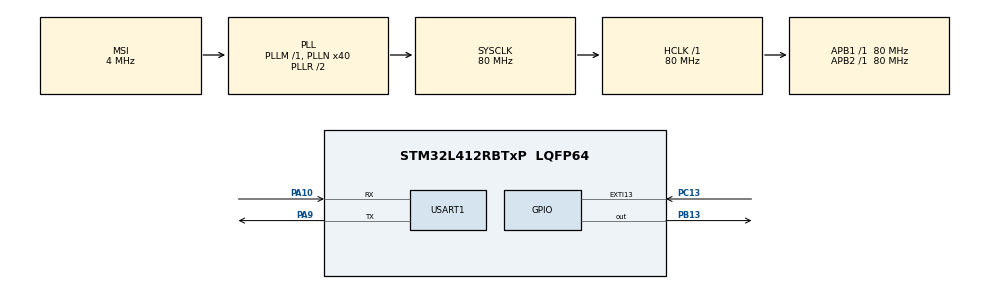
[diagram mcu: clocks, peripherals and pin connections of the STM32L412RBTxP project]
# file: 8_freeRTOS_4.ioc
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FREERTOS.Tasks01=defaultTask,0,128,StartDefaultTask,Default,NULL,Dynamic,NULL,NULL
FREERTOS.Timers01=myTimer01,Callback01,osTimerPeriodic,Default,NULL,Dynamic,NULL
FREERTOS.configTIMER_TASK_PRIORITY=6
FREERTOS.configTOTAL_HEAP_SIZE=6000
FREERTOS.configUSE_TIMERS=1
Mcu.Family=STM32L4
Mcu.Name=STM32L412RBTxP
Mcu.Package=LQFP64
NVIC.EXTI15_10_IRQn=true\:5\:0\:false\:false\:true\:false\:true\:true
NVIC.PriorityGroup=NVIC_PRIORITYGROUP_4
NVIC.TIM6_IRQn=true\:0\:0\:false\:false\:true\:false\:false\:true
NVIC.TimeBase=TIM6_IRQn
NVIC.TimeBaseIP=TIM6
NVIC.USART1_IRQn=true\:5\:0\:false\:false\:true\:true\:true\:true
PA10.Mode=Asynchronous
PA10.Signal=USART1_RX
PA9.Mode=Asynchronous
PA9.Signal=USART1_TX
PB13.Signal=GPIO_Output
PC13.GPIO_ModeDefaultEXTI=GPIO_MODE_IT_RISING_FALLING
PC13.Signal=GPXTI13
ProjectManager.HeapSize=0x200
ProjectManager.StackSize=0x400
ProjectManager.TargetToolchain=STM32CubeIDE
RCC.ADCFreq_Value=80000000
RCC.AHBFreq_Value=80000000
RCC.APB1Freq_Value=80000000
RCC.APB1TimFreq_Value=80000000
RCC.APB2Freq_Value=80000000
RCC.APB2TimFreq_Value=80000000
RCC.CortexFreq_Value=80000000
RCC.HCLKFreq_Value=80000000
RCC.HSE_VALUE=8000000
RCC.HSI48_VALUE=48000000
RCC.HSI_VALUE=16000000
RCC.LSE_VALUE=32768
RCC.MSI_VALUE=4000000
RCC.PLLN=40
RCC.SYSCLKFreq_VALUE=80000000
RCC.SYSCLKSource=RCC_SYSCLKSOURCE_PLLCLK
RCC.USBFreq_Value=4000000
RCC.VCOOutputFreq_Value=160000000
USART1.VirtualMode-Asynchronous=VM_ASYNC
VP_FREERTOS_VS_CMSIS_V1.Mode=CMSIS_V1
VP_SYS_VS_tim6.Mode=TIM6
board=custom

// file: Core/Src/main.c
/* USER CODE BEGIN Header */
/**
  ******************************************************************************
  * @file           : main.c
  * @brief          : Main program body
  ******************************************************************************
  * @attention
  *
  * <h2><center>&copy; Copyright (c) 2021 STMicroelectronics.
  * All rights reserved.</center></h2>
  *
  * This software component is licensed by ST under BSD 3-Clause license,
  * the "License"; You may not use this file except in compliance with the
  * License. You may obtain a copy of the License at:
  *                        opensource.org/licenses/BSD-3-Clause
  *
  ******************************************************************************
  */
/* USER CODE END Header */
#include "main.h"
#include "cmsis_os.h"
#include "usart.h"
#include "gpio.h"

/* USER CODE BEGIN Includes */
#include <stdio.h>
#include "freertos.h"

/* USER CODE END Includes */

/* USER CODE BEGIN PM */

#ifdef __GNUC__
    #define PUTCHAR_PROTOTYPE int __io_putchar(int ch)
#else
    #define PUTCHAR_PROTOTYPE int fputc(int ch, FILE *f)
#endif

PUTCHAR_PROTOTYPE
{
  HAL_UART_Transmit(&huart1, (uint8_t *)&ch, 1, 0xFFFF);
  return ch;
}
/* USER CODE END PM */

/* USER CODE BEGIN PV */

uint8_t userCommandBuff[10];

/* USER CODE END PV */

void SystemClock_Config(void);
void MX_FREERTOS_Init(void);

int main(void)
{

  /* MCU Configuration--------------------------------------------------------*/

  /* Reset of all peripherals, Initializes the Flash interface and the Systick. */
  HAL_Init();

  /* Configure the system clock */
  SystemClock_Config();

  /* Initialize all configured peripherals */
  MX_GPIO_Init();
  MX_USART1_UART_Init();
  /* USER CODE BEGIN 2 */

  HAL_UART_Receive_IT(&huart1, &userCommandBuff, 1);

  /* USER CODE END 2 */

  /* Call init function for freertos objects (in freertos.c) */
  MX_FREERTOS_Init();
  /* Start scheduler */
  osKernelStart();

  /* We should never get here as control is now taken by the scheduler */
  /* Infinite loop */
  while (1)
  {

  }
}

void SystemClock_Config(void)
{
  RCC_OscInitTypeDef RCC_OscInitStruct = {0};
  RCC_ClkInitTypeDef RCC_ClkInitStruct = {0};
  RCC_PeriphCLKInitTypeDef PeriphClkInit = {0};

  /** Configure the main internal regulator output voltage
  */
  if (HAL_PWREx_ControlVoltageScaling(PWR_REGULATOR_VOLTAGE_SCALE1) != HAL_OK)
  {
    Error_Handler();
  }
  /** Initializes the RCC Oscillators according to the specified parameters
  * in the RCC_OscInitTypeDef structure.
  */
  RCC_OscInitStruct.OscillatorType = RCC_OSCILLATORTYPE_MSI;
  RCC_OscInitStruct.MSIState = RCC_MSI_ON;
  RCC_OscInitStruct.MSICalibrationValue = 0;
  RCC_OscInitStruct.MSIClockRange = RCC_MSIRANGE_6;
  RCC_OscInitStruct.PLL.PLLState = RCC_PLL_ON;
  RCC_OscInitStruct.PLL.PLLSource = RCC_PLLSOURCE_MSI;
  RCC_OscInitStruct.PLL.PLLM = 1;
  RCC_OscInitStruct.PLL.PLLN = 40;
  RCC_OscInitStruct.PLL.PLLQ = RCC_PLLQ_DIV2;
  RCC_OscInitStruct.PLL.PLLR = RCC_PLLR_DIV2;
  if (HAL_RCC_OscConfig(&RCC_OscInitStruct) != HAL_OK)
  {
    Error_Handler();
  }
  /** Initializes the CPU, AHB and APB buses clocks
  */
  RCC_ClkInitStruct.ClockType = RCC_CLOCKTYPE_HCLK|RCC_CLOCKTYPE_SYSCLK
                              |RCC_CLOCKTYPE_PCLK1|RCC_CLOCKTYPE_PCLK2;
  RCC_ClkInitStruct.SYSCLKSource = RCC_SYSCLKSOURCE_PLLCLK;
  RCC_ClkInitStruct.AHBCLKDivider = RCC_SYSCLK_DIV1;
  RCC_ClkInitStruct.APB1CLKDivider = RCC_HCLK_DIV1;
  RCC_ClkInitStruct.APB2CLKDivider = RCC_HCLK_DIV1;

  if (HAL_RCC_ClockConfig(&RCC_ClkInitStruct, FLASH_LATENCY_4) != HAL_OK)
  {
    Error_Handler();
  }
  PeriphClkInit.PeriphClockSelection = RCC_PERIPHCLK_USART1;
  PeriphClkInit.Usart1ClockSelection = RCC_USART1CLKSOURCE_PCLK2;
  if (HAL_RCCEx_PeriphCLKConfig(&PeriphClkInit) != HAL_OK)
  {
    Error_Handler();
  }
}

/* USER CODE BEGIN 4 */
void HAL_GPIO_EXTI_Callback(uint16_t GPIO_Pin)
{
  if (GPIO_Pin == GPIO_PIN_13)
  {
    uint8_t btn_state = HAL_GPIO_ReadPin(GPIOC, GPIO_PIN_13);
    btn_state = btn_state == GPIO_PIN_RESET? 0:1;
    vButton_QueueSendFromISR(&btn_state);
  }
}

/* USER CODE END 4 */

 /**
  * @brief  Period elapsed callback in non blocking mode
  * @note   This function is called  when TIM6 interrupt took place, inside
  * HAL_TIM_IRQHandler(). It makes a direct call to HAL_IncTick() to increment
  * a global variable "uwTick" used as application time base.
  * @param  htim : TIM handle
  * @retval None
  */
void HAL_TIM_PeriodElapsedCallback(TIM_HandleTypeDef *htim)
{
  if (htim->Instance == TIM6) {
    HAL_IncTick();
  }
}

void Error_Handler(void)
{
  __disable_irq();
  while (1)
  {
  }
}

/************************ (C) COPYRIGHT STMicroelectronics *****END OF FILE****/

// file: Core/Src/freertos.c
/* USER CODE BEGIN Header */
/**
  ******************************************************************************
  * File Name          : freertos.c
  * Description        : Code for freertos applications
  ******************************************************************************
  * @attention
  *
  * <h2><center>&copy; Copyright (c) 2021 STMicroelectronics.
  * All rights reserved.</center></h2>
  *
  * This software component is licensed by ST under Ultimate Liberty license
  * SLA0044, the "License"; You may not use this file except in compliance with
  * the License. You may obtain a copy of the License at:
  *                             www.st.com/SLA0044
  *
  ******************************************************************************
  */
/* USER CODE END Header */

#include "FreeRTOS.h"
#include "task.h"
#include "main.h"
#include "cmsis_os.h"

/* USER CODE BEGIN Includes */
#include <stdio.h>
//#include "usart.h"
//#include "timers.h"

/* USER CODE END Includes */

/* USER CODE BEGIN Variables */
TaskHandle_t printTaskHandle = NULL;
TaskHandle_t xButtonTaskHandle = NULL;
QueueHandle_t xButtonQueueHandle = NULL;
TimerHandle_t xMyTimerHandle = NULL;
uint8_t timerCheck = 0;

/* USER CODE END Variables */
osThreadId defaultTaskHandle;
osTimerId myTimer01Handle;

/* USER CODE BEGIN FunctionPrototypes */
void vButton_QueueSendFromISR(uint8_t* pucButtonState);
void vButton_Task();

void vTimerCallback();

/* USER CODE END FunctionPrototypes */

void StartDefaultTask(void const * argument);
void Callback01(void const * argument);

void MX_FREERTOS_Init(void); /* (MISRA C 2004 rule 8.1) */

/* GetIdleTaskMemory prototype (linked to static allocation support) */
void vApplicationGetIdleTaskMemory( StaticTask_t **ppxIdleTaskTCBBuffer, StackType_t **ppxIdleTaskStackBuffer, uint32_t *pulIdleTaskStackSize );

/* GetTimerTaskMemory prototype (linked to static allocation support) */
void vApplicationGetTimerTaskMemory( StaticTask_t **ppxTimerTaskTCBBuffer, StackType_t **ppxTimerTaskStackBuffer, uint32_t *pulTimerTaskStackSize );

/* USER CODE BEGIN GET_IDLE_TASK_MEMORY */
static StaticTask_t xIdleTaskTCBBuffer;
static StackType_t xIdleStack[configMINIMAL_STACK_SIZE];

void vApplicationGetIdleTaskMemory( StaticTask_t **ppxIdleTaskTCBBuffer, StackType_t **ppxIdleTaskStackBuffer, uint32_t *pulIdleTaskStackSize )
{
  *ppxIdleTaskTCBBuffer = &xIdleTaskTCBBuffer;
  *ppxIdleTaskStackBuffer = &xIdleStack[0];
  *pulIdleTaskStackSize = configMINIMAL_STACK_SIZE;
  /* place for user code */
}
/* USER CODE END GET_IDLE_TASK_MEMORY */

/* USER CODE BEGIN GET_TIMER_TASK_MEMORY */
static StaticTask_t xTimerTaskTCBBuffer;
static StackType_t xTimerStack[configTIMER_TASK_STACK_DEPTH];

void vApplicationGetTimerTaskMemory( StaticTask_t **ppxTimerTaskTCBBuffer, StackType_t **ppxTimerTaskStackBuffer, uint32_t *pulTimerTaskStackSize )
{
  *ppxTimerTaskTCBBuffer = &xTimerTaskTCBBuffer;
  *ppxTimerTaskStackBuffer = &xTimerStack[0];
  *pulTimerTaskStackSize = configTIMER_TASK_STACK_DEPTH;
  /* place for user code */
}
/* USER CODE END GET_TIMER_TASK_MEMORY */

void MX_FREERTOS_Init(void) {

  /* Create the timer(s) */
  /* definition and creation of myTimer01 */
  osTimerDef(myTimer01, Callback01);
  myTimer01Handle = osTimerCreate(osTimer(myTimer01), osTimerPeriodic, NULL);

  /* Create the thread(s) */
  /* definition and creation of defaultTask */
  osThreadDef(defaultTask, StartDefaultTask, osPriorityNormal, 0, 128);
  defaultTaskHandle = osThreadCreate(osThread(defaultTask), NULL);

  /* USER CODE BEGIN RTOS_THREADS */
  /* add threads, ... */

  /* create queue for button task */
  xButtonQueueHandle = xQueueCreate(4, sizeof(uint8_t));
  /* be viewable in a RTOS kernel aware debugger */
  vQueueAddToRegistry(xButtonQueueHandle, "buttonQueue");
  /* create button task */
  xTaskCreate(vButton_Task, "buttonTask", configMINIMAL_STACK_SIZE, NULL, 1, &xButtonTaskHandle);

  xMyTimerHandle = xTimerCreate("TimerName", pdMS_TO_TICKS(500), pdTRUE, (void*)0, vTimerCallback);

  if (xTimerStart(xMyTimerHandle, 0)!=pdPASS)
  {
    printf("timer wasn't created");
  }

  /* USER CODE END RTOS_THREADS */

}

void StartDefaultTask(void const * argument)
{
  for(;;)
  {
    osDelay(1);
  }
}

/* Callback01 function */
void Callback01(void const * argument)
{
}

/* USER CODE BEGIN Application */

void vButton_QueueSendFromISR(uint8_t* pucButtonState)
{
  BaseType_t xHigherPriorityTaskWoken = pdFALSE;
  if (xButtonQueueHandle != NULL)
  {
    xQueueSendFromISR(xButtonQueueHandle, pucButtonState, &xHigherPriorityTaskWoken);
  }
}

void vButton_Task()
{
  printf("On!! \r\n");
  uint8_t btnCtl;

  for (;;)
  {

    if (xQueueReceive(xButtonQueueHandle, &btnCtl, 1000)==pdTRUE)
    {
        if (btnCtl == 0)
        {
          printf("pull up ! \r\n");
        }
        else
        {
          printf("press down ! \r\n");
        }
    }
    else
    {

    }

    if (timerCheck==1)
    {
      printf("timer expired \r\n");
      timerCheck = 0;
    }

  }
}

void vTimerCallback()
{
 timerCheck = 1;
}

/* USER CODE END Application */

/************************ (C) COPYRIGHT STMicroelectronics *****END OF FILE****/
